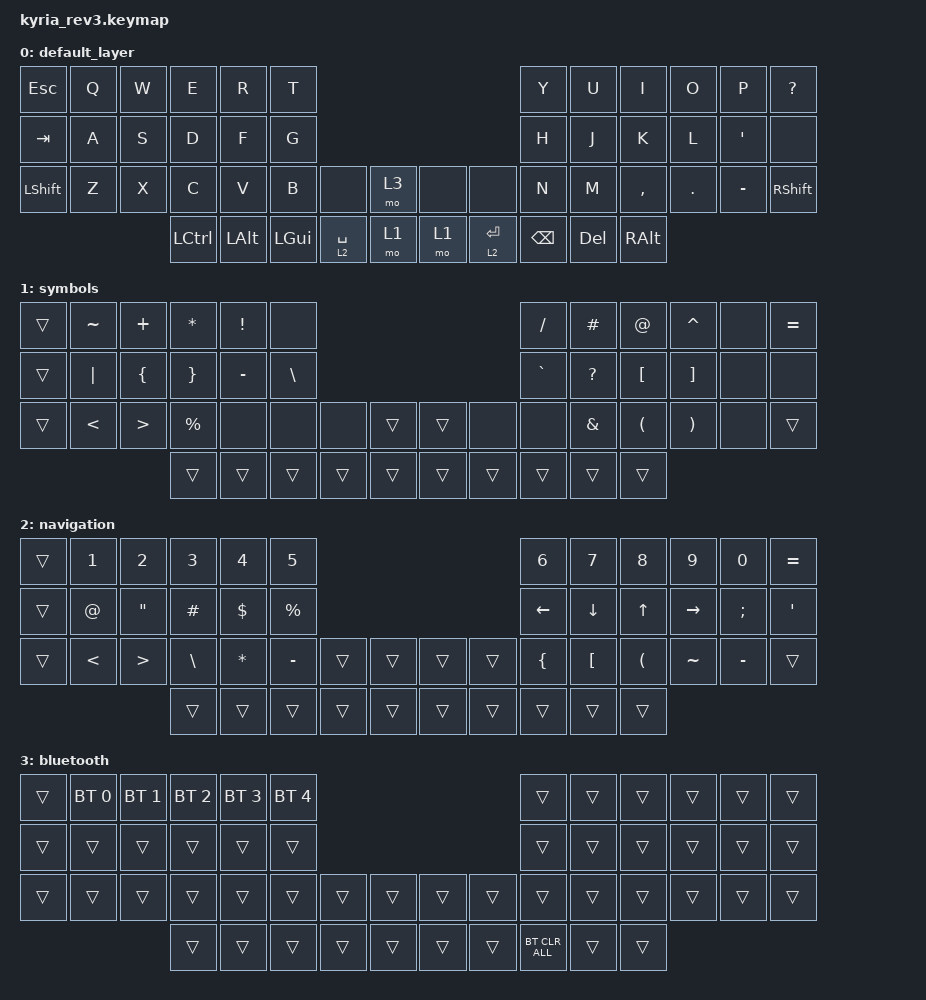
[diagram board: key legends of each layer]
/*
 * Copyright (c) 2020 The ZMK Contributors
 *
 * SPDX-License-Identifier: MIT
 */

#include <behaviors.dtsi>
#include <dt-bindings/zmk/bt.h>
#include <dt-bindings/zmk/keys.h>

#define default_layer 0
#define symbols	1
#define navigation	2
#define bluetooth 3

/ {
    keymap {
        compatible = "zmk,keymap";

        default_layer {
            // ---------------------------------------------------------------------------------------------------------------------------------
            // |  ESC  |  Q  |  W  |  E   |  R   |  T   |                                          |  Y   |  U    |  I    |  O   |   P   |   ?  |
            // |  TAB  |  A  |  S  |  D   |  F   |  G   |                                          |  H   |  J    |  K    |  L   |   '   |     |
            // | SHIFT |  Z  |  X  |  C   |  V   |  B   | SWEDISH  | RAISE |  			| RAISE | L SHIFT |  N   |  M    |  ,    |  .   |   -   | SHIFT |
            //                     | CTRL  | ALT  | CMD  |  SPACE  |   LOWER   |    |   LOWER   |  RET  | BSPC  | DEL  | R-ALT |

            bindings = <
&kp ESC    &kp Q  &kp W  &kp E      &kp R     &kp T                                           &kp Y     &kp U    &kp I      &kp O       &kp P             &kp QUESTION
&kp TAB    &kp A  &kp S  &kp D      &kp F     &kp G                                           &kp H     &kp J    &kp K      &kp L       &kp SINGLE_QUOTE  &none
&kp LSHFT  &kp Z  &kp X  &kp C      &kp V     &kp B     &none        &mo 3  &none  &none      &kp N     &kp M    &kp COMMA  &kp PERIOD  &kp MINUS         &kp RSHFT
                         &kp LCTRL  &kp LALT  &kp LGUI  &lt 2 SPACE  &mo 1  &mo 1  &lt 2 RET  &kp BSPC  &kp DEL  &kp RALT
            >;
        };

        symbols {
            // ---------------------------------------------------------------------------------------------------------------------------------
            // |  ESC  |  1  |  2  |  3   |  4   |  5   |                                          |  6   |  7    |  8    |  9   |   0   |   =/+  |
            // |  TAB  |  @  |  "  |  #   |  $   |  %   |                                          |  LEFT   |  DOWN  |  UP  |  RIGHT   |   :   |   '  |
            // | SHIFT |  <  |  >  |  \   |  *   |  -   | ` | RAISE |  | RAISE | PIPE |  {   |  [    |  (    |  ~   |   -   | SHIFT|
            //                     | CTRL  | ALT  | CMD  |  SPACE  |   LOWER   |  |   LOWER   |  RET  | BSPC  | DEL  | R-ALT |

            bindings = <
&trans  &kp TILDE      &kp PLUS          &kp STAR         &kp EXCLAMATION  &none                                          &kp SLASH  &kp HASH       &kp AT                &kp CARET              &none  &kp EQUAL
&trans  &kp PIPE       &kp LEFT_BRACE    &kp RIGHT_BRACE  &kp MINUS        &kp BACKSLASH                                  &kp GRAVE  &kp QUESTION   &kp LEFT_BRACKET      &kp RIGHT_BRACKET      &none  &none
&trans  &kp LESS_THAN  &kp GREATER_THAN  &kp PERCENT      &none            &none          &none   &trans  &trans  &none   &none      &kp AMPERSAND  &kp LEFT_PARENTHESIS  &kp RIGHT_PARENTHESIS  &none  &trans
                                         &trans           &trans           &trans         &trans  &trans  &trans  &trans  &trans     &trans         &trans
            >;
        };

        navigation {
            // ---------------------------------------------------------------------------------------------------------------------------------
            // |  ESC  |  1  |  2  |  3   |  4   |  5   |                                          |  6   |  7    |  8    |  9   |   0   |   =/+  |
            // |  TAB  |  @  |  "  |  #   |  $   |  %   |                                          |  LEFT   |  DOWN  |  UP  |  RIGHT   |   ;/:   |   '  |
            // | SHIFT |  <  |  >  |  \   |  *   |  -   | L SHIFT | RAISE |  | RAISE | PIPE |  {   |  [    |  (    |  ~   |   -   | SHIFT|
            //                     | CTRL  | ALT  | CMD  |  SPACE  |   LOWER   |  |   LOWER   |  RET  | BSPC  | DEL  | R-ALT |

            bindings = <
&trans  &kp NUMBER_1  &kp NUMBER_2  &kp NUMBER_3  &kp NUMBER_4  &kp NUMBER_5                                  &kp N6    &kp N7    &kp N8    &kp N9     &kp N0     &kp EQUAL
&trans  &kp AT        &kp DQT       &kp HASH      &kp DLLR      &kp PRCNT                                     &kp LEFT  &kp DOWN  &kp UP    &kp RIGHT  &kp SEMI   &kp SQT
&trans  &kp LT        &kp GT        &kp BSLH      &kp ASTRK     &kp MINUS     &trans  &trans  &trans  &trans  &kp LBRC  &kp LBKT  &kp LPAR  &kp TILDE  &kp MINUS  &trans
                                    &trans        &trans        &trans        &trans  &trans  &trans  &trans  &trans    &trans    &trans
            >;
        };

        bluetooth {
            bindings = <
&trans  &bt BT_SEL 0  &bt BT_SEL 1  &bt BT_SEL 2  &bt BT_SEL 3  &bt BT_SEL 4                                  &trans          &trans  &trans  &trans  &trans  &trans
&trans  &trans        &trans        &trans        &trans        &trans                                        &trans          &trans  &trans  &trans  &trans  &trans
&trans  &trans        &trans        &trans        &trans        &trans        &trans  &trans  &trans  &trans  &trans          &trans  &trans  &trans  &trans  &trans
                                    &trans        &trans        &trans        &trans  &trans  &trans  &trans  &bt BT_CLR_ALL  &trans  &trans
            >;
        };
    };
};
